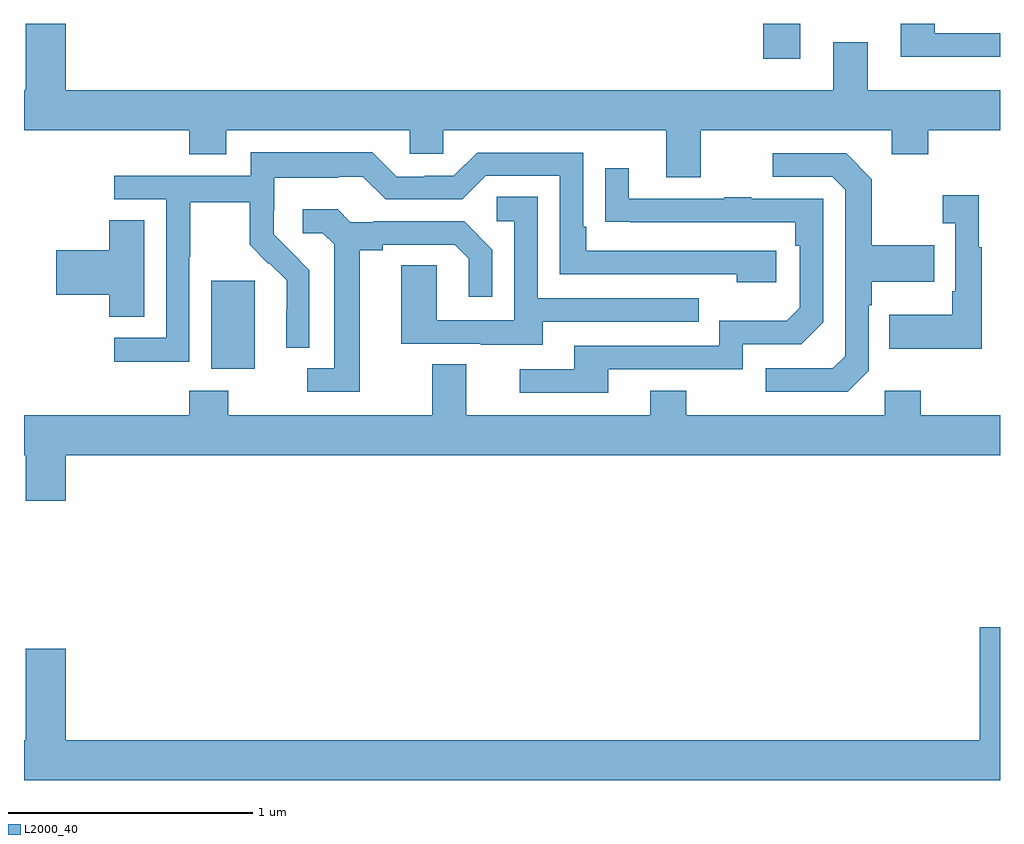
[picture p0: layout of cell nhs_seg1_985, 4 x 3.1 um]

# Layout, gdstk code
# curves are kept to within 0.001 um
import gdstk
lib = gdstk.Library(unit=1e-6, precision=1e-09)
def R(c, l, rs):  # rectangles x0, y0, x1, y1
    for r in rs: c.add(gdstk.rectangle(r[:2], r[2:], *l))
def P(c, l, *ps):  # polygons
    for p in ps: c.add(gdstk.Polygon(p, *l))
L2000_40 = (2000, 40)

nhs_seg1_985 = lib.new_cell('nhs_seg1_985')
R(nhs_seg1_985, L2000_40, [(165.767,518.786,165.946,519.147), (168.029,520.056,168.181,520.199)])
P(nhs_seg1_985, L2000_40, [(167.773,519.764),(168.557,519.764),(168.557,519.665),(168.705,519.665),(168.705,519.764),(169,519.764),(169,519.928),(168.457,519.928),(168.457,520.123),(168.317,520.123),(168.317,519.928),(165.172,519.928),(165.172,520.199),(165.008,520.199),(165.008,519.928),(165,519.928),(165,519.764),(165.677,519.764),(165.677,519.665),(165.829,519.665),(165.829,519.764),(166.581,519.764),(166.581,519.666),(166.719,519.666),(166.719,519.764),(167.633,519.764),(167.633,519.57),(167.773,519.57)],
  [(169,520.161),(168.733,520.161),(168.733,520.199),(168.593,520.199),(168.593,520.064),(169,520.064)],
  [(165.678,519.244),(165.681,519.244),(165.681,519.468),(165.925,519.468),(165.925,519.293),(166.002,519.216),(166.005,519.219),(166.076,519.149),(166.076,519.026),(166.074,519.026),(166.074,518.872),(166.17,518.872),(166.17,519.19),(166.024,519.338),(166.024,519.435),(166.026,519.435),(166.026,519.569),(166.289,519.569),(166.289,519.573),(166.389,519.573),(166.482,519.48),(166.797,519.48),(166.893,519.576),(167.196,519.576),(167.196,519.174),(167.921,519.174),(167.921,519.14),(168.082,519.14),(168.082,519.27),(167.305,519.27),(167.305,519.367),(167.292,519.367),(167.292,519.672),(166.857,519.672),(166.761,519.576),(166.643,519.576),(166.643,519.573),(166.527,519.573),(166.427,519.673),(165.93,519.673),(165.93,519.576),(165.369,519.576),(165.369,519.48),(165.582,519.48),(165.582,518.913),(165.369,518.913),(165.369,518.815),(165.678,518.815)],
  [(168.462,518.778),(168.462,519.047),(168.475,519.047),(168.475,519.143),(168.731,519.143),(168.731,519.291),(168.475,519.291),(168.475,519.563),(168.369,519.669),(168.069,519.669),(168.069,519.573),(168.312,519.573),(168.366,519.519),(168.366,518.838),(168.315,518.787),(168.039,518.787),(168.039,518.691),(168.375,518.691)],
  [(167.395,518.784),(167.946,518.784),(167.946,518.886),(168.186,518.886),(168.276,518.976),(168.276,519.483),(167.981,519.483),(167.981,519.488),(167.869,519.488),(167.869,519.483),(167.479,519.483),(167.479,519.607),(167.383,519.607),(167.383,519.388),(168.16,519.387),(168.16,519.29),(168.18,519.29),(168.18,519.036),(168.127,518.983),(167.85,518.983),(167.85,518.88),(167.255,518.88),(167.255,518.784),(167.031,518.784),(167.031,518.688),(167.395,518.688)],
  [(168.925,519.283),(168.913,519.283),(168.913,519.496),(168.765,519.496),(168.765,519.383),(168.816,519.383),(168.816,519.103),(168.804,519.103),(168.804,519.007),(168.547,519.007),(168.547,518.867),(168.925,518.867)],
  [(167.125,518.979),(167.765,518.979),(167.765,519.075),(167.106,519.075),(167.106,519.491),(166.938,519.491),(166.938,519.39),(167.01,519.39),(167.01,518.985),(166.692,518.985),(166.692,519.209),(166.547,519.209),(166.547,518.889),(166.871,518.889),(166.871,518.885),(167.125,518.885)],
  [(166.375,519.272),(166.471,519.272),(166.471,519.294),(166.766,519.294),(166.823,519.237),(166.823,519.081),(166.92,519.081),(166.92,519.274),(166.804,519.39),(166.432,519.39),(166.432,519.387),(166.338,519.387),(166.286,519.439),(166.143,519.439),(166.143,519.342),(166.224,519.342),(166.271,519.295),(166.271,518.787),(166.161,518.787),(166.161,518.691),(166.375,518.691)],
  [(165.493,519.395),(165.35,519.395),(165.35,519.272),(165.132,519.272),(165.132,519.089),(165.35,519.089),(165.35,518.998),(165.493,518.998)],
  [(165.172,518.432),(169,518.432),(169,518.596),(168.675,518.596),(168.675,518.695),(168.528,518.695),(168.528,518.596),(167.715,518.596),(167.715,518.695),(167.567,518.695),(167.567,518.596),(166.813,518.596),(166.813,518.804),(166.673,518.804),(166.673,518.596),(165.837,518.596),(165.837,518.695),(165.677,518.695),(165.677,518.596),(165,518.596),(165,518.432),(165.008,518.432),(165.008,518.244),(165.172,518.244)],
  [(169,517.726),(168.917,517.726),(168.917,517.264),(165.172,517.264),(165.172,517.639),(165.008,517.639),(165.008,517.264),(165,517.264),(165,517.1),(169,517.1)])

lib.write_gds('nhs_seg1_985.gds')
